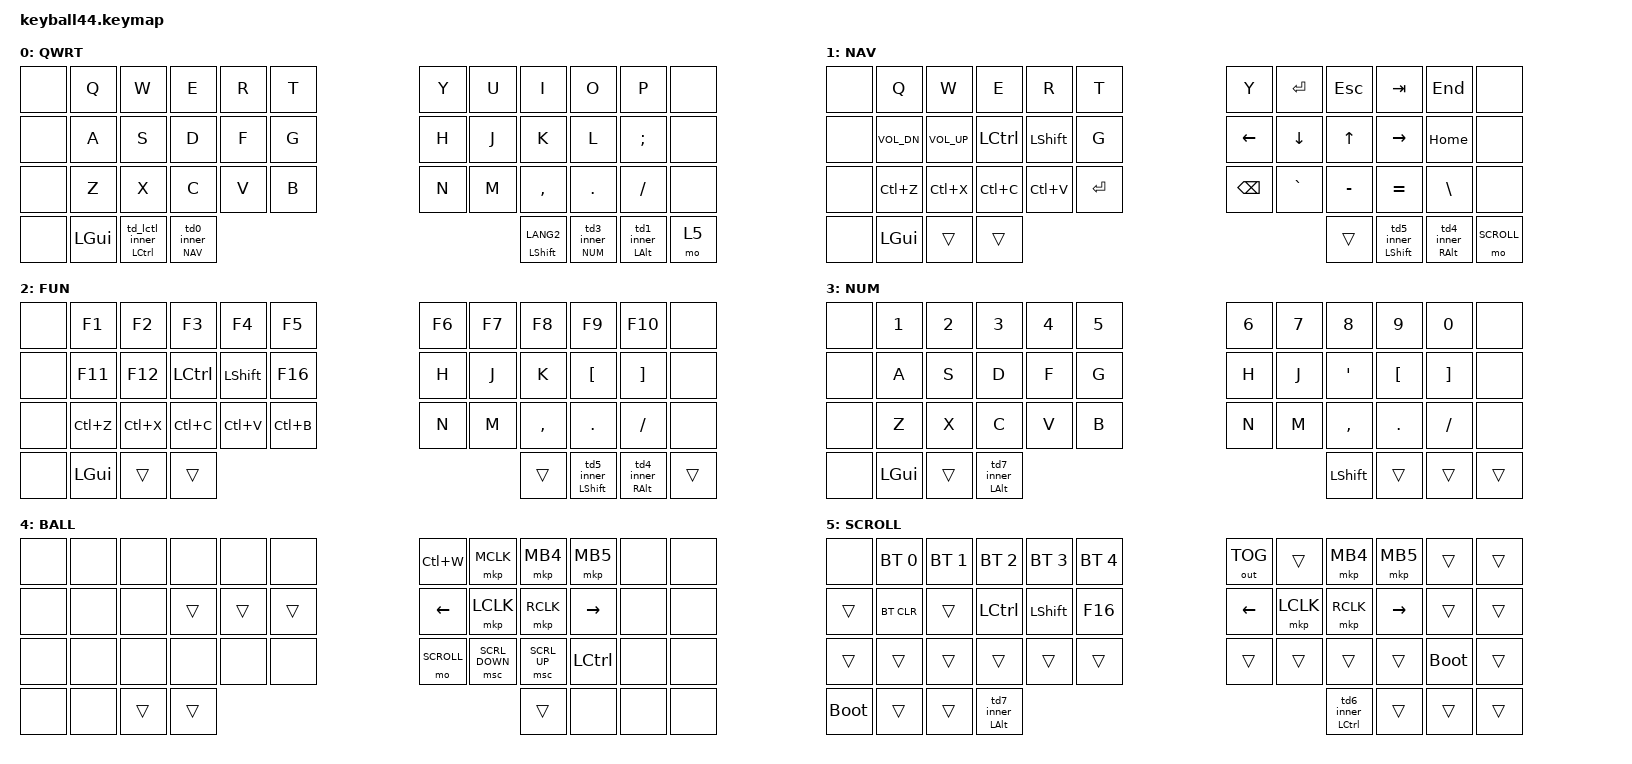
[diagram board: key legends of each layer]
// Generated from docs/tmp.vil (Vial / Cornix layout)
// Mapped to Keyball44 ZMK layout (5+3 thumbs).

#define DEFAULT 0
#define NAV     1
#define FUN     2
#define NUM     3
#define BALL    4
#define SCROLL  5

#include <behaviors/mouse_keys.dtsi>
#include <behaviors.dtsi>
#include <input/processors.dtsi>
#include <dt-bindings/zmk/bt.h>
#include <dt-bindings/zmk/keys.h>
#include <dt-bindings/zmk/pointing.h>
#include <dt-bindings/zmk/outputs.h>

&lt {
    tapping-term-ms = <180>;
    flavor = "hold-preferred";
    quick-tap-ms = <150>;
    require-prior-idle-ms = <80>;
};

&mt {
    tapping-term-ms = <180>;
    flavor = "hold-preferred";
    quick-tap-ms = <150>;
    require-prior-idle-ms = <80>;
};

&caps_word { continue-list = <UNDERSCORE MINUS>; };

// === トラックボール操作時の BALL 層自動切り替え ===
// ドライバ側の automouse-layer は無効化し、ZMK 標準の入力プロセッサで制御する。
// (keyball44_right.overlay の automouse-layer = <(-1)> と対で機能する)
&zip_temp_layer {
    // 直前の打鍵から 300ms 以内はボールを動かしても BALL 層へ入らない。
    // タイピング中に手のひらがボールに触れたときの誤爆を防ぐ。
    //
    // 150ms では足りなかった。60 WPM のタイピングは打鍵間隔が約 200ms あるため、
    // ほぼ全ての文字間に抑制窓を超える隙ができ、そこで誤爆していた。
    // 300ms は 40 WPM 相当。
    //
    // 抑制されるのはレイヤー切替だけで、ポインタ移動は影響を受けない
    // (temp_layer_handle_event は常に ZMK_INPUT_PROC_CONTINUE を返す)。
    // つまりカーソルは打鍵直後でも動き、クリックキーが使えるまで 300ms 待つだけ。
    require-prior-idle-ms = <300>;

    // ここに挙げた位置「以外」のキーを押すと BALL 層を即座に解除する。
    // = BALL 層で実際に使うキー(右手クラスタ + 左親指 td_lctl)だけを列挙。
    //   row0:  6  7  8  9         LC(W) MCLK MB4 MB5
    //   row1: 18 19 20 21         LEFT LCLK RCLK RIGHT
    //   row2: 30 31 32 33         MO(SCROLL) SCRL_DN SCRL_UP LCTRL
    //   row3: 38                  trans(td_lctl)
    //   ※ 左手 D F G(15-17) と親指 39 40 は trans だが、押すと BALL 層を抜ける。
    excluded-positions = <6 7 8 9 18 19 20 21 30 31 32 33 38>;
};

/ {
    // ボールが止まってから 500ms で BALL 層を抜ける。
    // 上の excluded-positions により通常キーを打てば即座に抜けるので、
    // クリックしやすいよう長めに取っても誤爆は増えない。
    trackball_listener {
        input-processors = <&zip_temp_layer BALL 500>;
    };

    behaviors {
        // === 左親指キー: hold=引数のmod(LCTRL) / 1タップ=無反応 / 2タップ=LC(LSHFT) ===
        // (旧 td_ball。BALL 層とは無関係のため改名)
        td_lctl_inner: td_lctl_inner {
            compatible = "zmk,behavior-tap-dance";
            #binding-cells = <0>;
            tapping-term-ms = <250>;
            bindings = <&none>, <&kp LC(LSHFT)>;
        };
        td_lctl: td_lctl {
            compatible = "zmk,behavior-hold-tap";
            #binding-cells = <2>;
            flavor = "hold-preferred";
            tapping-term-ms = <250>;
            quick-tap-ms = <250>;
            require-prior-idle-ms = <80>;
            bindings = <&kp>, <&td_lctl_inner>;
        };

        // === Vial tap-dance 再現 (逆ネスト方式 + quick-tap-ms) ===
        // 外側 hold-tap（hold判定をpress時点で確立 → ホールド+他キー即動作）
        // 内側 tap-dance（tap時に多重押下で2nd-action発動）
        // quick-tap-ms により「タップ→ホールド」も内側で正しく検出

        // --- 内側 tap-dance: tap時の単押し/連打分岐 ---
        td0_inner: td0_inner {
            compatible = "zmk,behavior-tap-dance";
            #binding-cells = <0>;
            tapping-term-ms = <250>;
            bindings = <&kp SPACE>, <&mo FUN>;
        };
        td1_inner: td1_inner {
            compatible = "zmk,behavior-tap-dance";
            #binding-cells = <0>;
            tapping-term-ms = <250>;
            bindings = <&kp SPACE>, <&kp LSHFT>;
        };
        td2_inner: td2_inner {
            compatible = "zmk,behavior-tap-dance";
            #binding-cells = <0>;
            tapping-term-ms = <250>;
            bindings = <&kp LANG2>, <&kp LCTRL>;
        };
        td3_inner: td3_inner {
            compatible = "zmk,behavior-tap-dance";
            #binding-cells = <0>;
            tapping-term-ms = <250>;
            bindings = <&kp LANG1>, <&kp LCTRL>;
        };
        td4_inner: td4_inner {
            compatible = "zmk,behavior-tap-dance";
            #binding-cells = <0>;
            tapping-term-ms = <250>;
            bindings = <&none>, <&sk RA(RSHFT)>;
        };
        td5_inner: td5_inner {
            compatible = "zmk,behavior-tap-dance";
            #binding-cells = <0>;
            tapping-term-ms = <250>;
            bindings = <&kp DEL>, <&kp LCTRL>;
        };
        td6_inner: td6_inner {
            compatible = "zmk,behavior-tap-dance";
            #binding-cells = <0>;
            tapping-term-ms = <250>;
            bindings = <&none>, <&kp LSHFT>;
        };
        td7_inner: td7_inner {
            compatible = "zmk,behavior-tap-dance";
            #binding-cells = <0>;
            tapping-term-ms = <250>;
            bindings = <&none>, <&kp LSHFT>;
        };

        // --- 外側 hold-tap: hold-preferred+quick-tap-ms で全機能を両立 ---
        td0: td0 { // hold=MO(layer), tap=td0_inner / 呼出: &td0 NAV 0
            compatible = "zmk,behavior-hold-tap";
            #binding-cells = <2>;
            flavor = "hold-preferred";
            tapping-term-ms = <250>;
            quick-tap-ms = <250>;
            require-prior-idle-ms = <80>;
            bindings = <&mo>, <&td0_inner>;
        };
        td1: td1 { // hold=&kp(mod), tap=td1_inner / 呼出: &td1 LALT 0
            compatible = "zmk,behavior-hold-tap";
            #binding-cells = <2>;
            flavor = "hold-preferred";
            tapping-term-ms = <250>;
            quick-tap-ms = <250>;
            require-prior-idle-ms = <80>;
            bindings = <&kp>, <&td1_inner>;
        };
        td2: td2 { // 呼出: &td2 FUN 0
            compatible = "zmk,behavior-hold-tap";
            #binding-cells = <2>;
            flavor = "hold-preferred";
            tapping-term-ms = <250>;
            quick-tap-ms = <250>;
            require-prior-idle-ms = <80>;
            bindings = <&mo>, <&td2_inner>;
        };
        td3: td3 { // 呼出: &td3 NUM 0
            compatible = "zmk,behavior-hold-tap";
            #binding-cells = <2>;
            flavor = "hold-preferred";
            tapping-term-ms = <250>;
            quick-tap-ms = <250>;
            require-prior-idle-ms = <80>;
            bindings = <&mo>, <&td3_inner>;
        };
        td4: td4 { // 呼出: &td4 RALT 0
            compatible = "zmk,behavior-hold-tap";
            #binding-cells = <2>;
            flavor = "hold-preferred";
            tapping-term-ms = <250>;
            quick-tap-ms = <250>;
            require-prior-idle-ms = <80>;
            bindings = <&kp>, <&td4_inner>;
        };
        td5: td5 { // 呼出: &td5 LSHFT 0
            compatible = "zmk,behavior-hold-tap";
            #binding-cells = <2>;
            flavor = "hold-preferred";
            tapping-term-ms = <250>;
            quick-tap-ms = <250>;
            require-prior-idle-ms = <80>;
            bindings = <&kp>, <&td5_inner>;
        };
        td6: td6 { // 呼出: &td6 LCTRL 0
            compatible = "zmk,behavior-hold-tap";
            #binding-cells = <2>;
            flavor = "hold-preferred";
            tapping-term-ms = <250>;
            quick-tap-ms = <250>;
            require-prior-idle-ms = <80>;
            bindings = <&kp>, <&td6_inner>;
        };
        td7: td7 { // 呼出: &td7 LALT 0
            compatible = "zmk,behavior-hold-tap";
            #binding-cells = <2>;
            flavor = "hold-preferred";
            tapping-term-ms = <250>;
            quick-tap-ms = <250>;
            require-prior-idle-ms = <80>;
            bindings = <&kp>, <&td7_inner>;
        };
    };

    keymap {
        compatible = "zmk,keymap";

        // L0: 英字 / TD0=&lt NAV SPACE, TD2=&lt FUN LANG2, TD3=&lt NUM LANG1, TD1=&mt LALT SPACE
        default_layer {
            display-name = "QWRT";
            bindings = <
&none    &kp Q     &kp W   &kp E        &kp R          &kp T                          &kp Y         &kp U           &kp I      &kp O    &kp P         &none
&none  &kp A     &kp S   &kp D        &kp F          &kp G                          &kp H         &kp J           &kp K      &kp L    &kp SEMI      &none
&none  &kp Z     &kp X   &kp C        &kp V          &kp B                          &kp N         &kp M           &kp COMMA  &kp DOT  &kp FSLH      &none
&none    &kp LGUI  &td_lctl LCTRL 0  &td0 NAV 0   &mt LSHFT LANG2                &td3 NUM 0     &td1 LALT 0                                                     &mo 5
            >;
        };

        // L1: ナビ / 音量 / コピペ
        nav_layer {
            display-name = "NAV";
            bindings = <
&none    &kp Q          &kp W        &kp E      &kp R      &kp T                          &kp Y          &kp ENTER  &kp ESC    &kp TAB    &kp END     &none
&none  &kp C_VOL_DN   &kp C_VOL_UP &kp LCTRL  &kp LSHFT  &kp G                          &kp LEFT       &kp DOWN   &kp UP     &kp RIGHT  &kp HOME      &none
&none  &kp LC(Z)      &kp LC(X)    &kp LC(C)  &kp LC(V)  &kp ENTER                      &kp BSPC       &kp GRAVE  &kp MINUS  &kp EQUAL  &kp BSLH      &none
&none  &kp LGUI       &trans     &trans     &trans                       &td5 LSHFT 0   &td4 RALT 0                                                 &mo SCROLL
            >;
        };

        // L2: F-key / マウスホイール / マウスボタン
        fun_layer {
            display-name = "FUN";
            bindings = <
&none  &kp F1     &kp F2          &kp F3          &kp F4      &kp F5                            &kp F6        &kp F7    &kp F8     &kp F9   &kp F10    &none
&none  &kp F11    &kp F12         &kp LCTRL       &kp LSHFT   &kp F16                           &kp H         &kp J     &kp K      &kp LBKT    &kp RBKT   &none
&none  &kp LC(Z)  &kp LC(X)       &kp LC(C)       &kp LC(V)   &kp LC(B)                         &kp N         &kp M     &kp COMMA  &kp DOT  &kp FSLH   &none
&none  &kp LGUI   &trans        &trans          &trans                       &td5 LSHFT 0     &td4 RALT 0                                            &trans
            >;
        };

        // L3: 数字行 / TD7=&kp LALT, TD6=&kp LCTRL
        num_layer {
            display-name = "NUM";
            bindings = <
&none    &kp N1    &kp N2    &kp N3    &kp N4    &kp N5                          &kp N6    &kp N7    &kp N8     &kp N9   &kp N0     &none
&none  &kp A     &kp S     &kp D     &kp F     &kp G                           &kp H     &kp J     &kp SQT    &kp LBKT    &kp RBKT   &none
&none  &kp Z     &kp X     &kp C     &kp V     &kp B                           &kp N     &kp M     &kp COMMA  &kp DOT  &kp FSLH   &none
&none  &kp LGUI  &trans  &td7 LALT 0  &kp LSHFT                    &trans    &trans                                              &trans
            >;
        };

        // L4: BALL (Vial USER00-07) / USER07=SCRL_MO -> &mo SCROLL, USER00-02 は ZMK 等価無しのため &none
        ball_layer {
            display-name = "BALL";
            bindings = <
&none  &none  &none  &none  &none  &none                       &kp LC(W)   &mkp MCLK     &mkp MB4        &mkp MB5    &none     &none
&none  &none  &none  &trans     &trans     &trans       &kp LEFT    &mkp LCLK     &mkp RCLK       &kp RIGHT   &none     &none
&none  &none  &none  &none  &none  &none                  &mo SCROLL  &msc SCRL_DOWN  &msc SCRL_UP  &kp LCTRL   &none     &none
&none  &none  &trans      &trans       &trans               &none       &none                                     &none
            >;
        };

        // L5: SCROLL (USER07 = SCRL_MO の hold 先 / 右ホーム行に方向スクロールを配置)
        scroll_layer {
            display-name = "SCROLL";
            bindings = <
&none            &bt BT_SEL 0     &bt BT_SEL 1     &bt BT_SEL 2     &bt BT_SEL 3     &bt BT_SEL 4        &out OUT_TOG     &trans           &mkp MB4         &mkp MB5         &trans           &trans
&trans           &bt BT_CLR       &trans           &kp LCTRL        &kp LSHFT        &kp F16        &kp LEFT         &mkp LCLK        &mkp RCLK        &kp RIGHT        &trans           &trans
&trans           &trans           &trans           &trans           &trans           &trans        &trans           &trans           &trans           &trans           &bootloader      &trans
&bootloader      &trans           &trans           &td7 LALT 0      &td6 LCTRL 0        &trans           &trans           &trans
            >;
        };
    };
};
